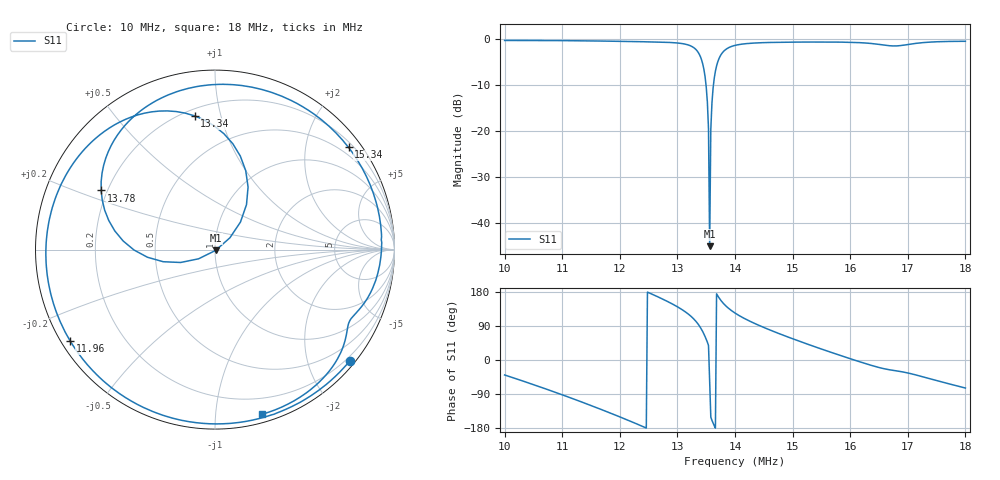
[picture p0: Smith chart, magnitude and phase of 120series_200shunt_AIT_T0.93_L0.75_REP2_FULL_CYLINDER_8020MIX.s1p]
! NanoVNA Web complex sweep
! Processing: original sample grid, no browser smoothing
# Hz S RI R 50
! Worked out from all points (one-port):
!   401 points, 10 MHz to 18 MHz, reference 50 ohm
!   lowest |S11| = -45.1 dB at 13.56 MHz (marker M1), VSWR 1.01, Z = 50.3 - j0.457 ohm
!   |S11| at or under -10 dB: 13.5 MHz to 13.63 MHz (128 kHz wide, 0.944 % of centre)
!   S11 on the Smith chart (normalised r, x): 10 MHz: 0.11, -2.78; 11.96 MHz: 0.03, -0.29; 13.34 MHz: 0.24, +0.83; 13.78 MHz: 0.18, +0.24; 15.34 MHz: 0.31, +2.92; 18 MHz: 0.06, -1.32
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1e7  0.7517 -0.6197
1.056e7  0.3631 -0.9032
1.1e7  -0.0308 -0.9704
1.146e7  -0.4501 -0.8531
1.196e7  -0.8058 -0.5109
1.2e7  -0.8261 -0.4753
1.254e7  -0.9367 0.0806
1.3e7  -0.7048 0.5827
1.322e7  -0.394 0.7599
1.334e7  -0.1134 0.7451
1.346e7  0.1711 0.4401
1.35e7  0.1754 0.2504
1.352e7  0.1419 0.1535
1.356e7  0.00325 -0.00454
1.36e7  -0.1912 -0.0717
1.362e7  -0.2882 -0.0676
1.366e7  -0.451 -0.00238
1.378e7  -0.6342 0.3295
1.4e7  -0.4807 0.7144
1.42e7  -0.2588 0.8626
1.444e7  0.00362 0.9199
1.5e7  0.5215 0.7756
1.534e7  0.7438 0.5695
1.6e7  0.9263 0.0545
1.646e7  0.8452 -0.2778
1.7e7  0.7276 -0.4945
1.754e7  0.5304 -0.7819
1.8e7  0.263 -0.9172
